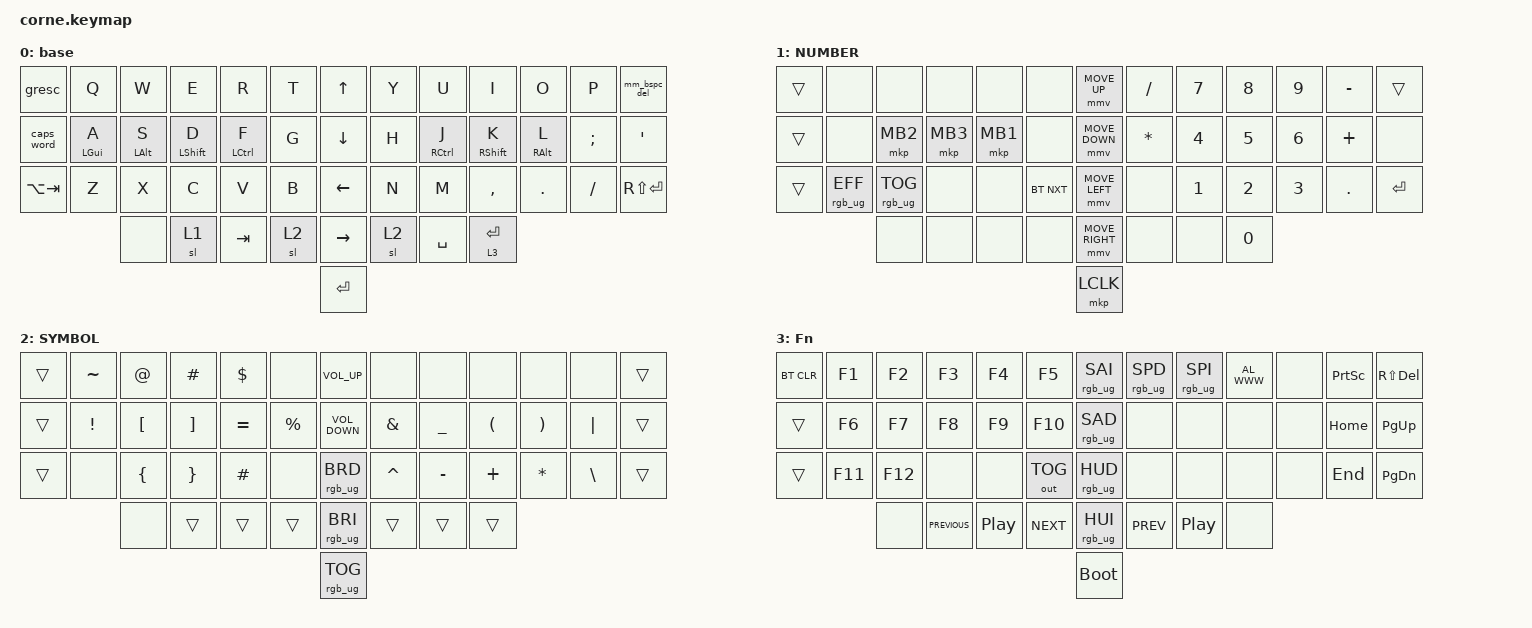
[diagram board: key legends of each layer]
#include <behaviors/mouse_keys.dtsi>
#include <dt-bindings/zmk/mouse.h>
#include <behaviors.dtsi>
#include <dt-bindings/zmk/bt.h>
#include <dt-bindings/zmk/keys.h>
#include <dt-bindings/zmk/outputs.h>
#include <dt-bindings/zmk/rgb.h>

#define ZMK_MOUSE_DEFAULT_MOVE_VAL 1200  // 600
#define ZMK_MOUSE_DEFAULT_SCRL_VAL 20    // 10
#define U_MS_U &mmv MOVE_UP
#define U_MS_D &mmv MOVE_DOWN
#define U_MS_L &mmv MOVE_LEFT
#define U_MS_R &mmv MOVE_RIGHT

&mt {
    flavor = "tap-preferred";
    tapping-term-ms = <300>;
};

/ {
    behaviors {
        mm_bspc_del: mm_bspc_del {
            compatible = "zmk,behavior-mod-morph";
            label = "MM_BSPC_DEL";
            bindings = <&kp BACKSPACE>, <&kp DELETE>;

            #binding-cells = <0>;
            mods = <(MOD_LSFT|MOD_RSFT)>;
        };

        num_word: num_word {
            compatible = "zmk,behavior-caps-word";
            label = "NUM_WORD";
            #binding-cells = <0>;
            continue-list = <NUMBER_1 NUMBER_2 NUMBER_3 NUMBER_4 NUMBER_5 NUMBER_6 NUMBER_7 NUMBER_8 NUMBER_9 NUMBER_0>;
        };

        mmv {
            acceleration-exponent = <1>;      // 1
            time-to-max-speed-ms = <900>;    // 40
            delay-ms = <0>;                   // 0
        };

        msc {
            acceleration-exponent = <1>;      // 0
            time-to-max-speed-ms = <400>;      // 500
            delay-ms = <0>;                   // 10
        };
    };

    combos {
        compatible = "zmk,combos";

        soft_off {
            bindings = <&soft_off>;
            key-positions = <26 0 13>;
            layers = <0>;
        };
    };

    keymap {
        compatible = "zmk,keymap";

        default_layer {
            display-name = "base";

            // --------------------------------------------------------------------------------
            // |  TAB |  Q  |  W  |  E  |  R  |  T  |                ↑    |  Y  |  U   |  I  |  O  |  P  | BKSP |      &kp UP_ARROW 
            // | SHIFT |  A  |  S  |  D  |  F  |  G  |               ↓    |  H  |  J   |  K  |  L  |  ;  |  '   | 
            // | CTRL |  Z  |  X  |  C  |  V  |  B  |                ←    |  N  |  M   |  ,  |  .  |  /  | ESC  |
            //                    | GUI | LWR | SPC |                →    | ENT | RSE  | ALT |
            //                                                      enter

            bindings = <
&gresc       &kp Q           &kp W           &kp E             &kp R        &kp T    &kp UP_ARROW     &kp Y  &kp U        &kp I         &kp O            &kp P          &mm_bspc_del
&caps_word   &mt LEFT_GUI A  &mt LEFT_ALT S  &mt LEFT_SHIFT D  &mt LCTRL F  &kp G    &kp DOWN_ARROW   &kp H  &mt RCTRL J  &mt RSHIFT K  &mt RIGHT_ALT L  &kp SEMICOLON  &kp SQT
&kp LA(TAB)  &kp Z           &kp X           &kp C             &kp V        &kp B    &kp LEFT_ARROW   &kp N  &kp M        &kp COMMA     &kp DOT          &kp FSLH       &kp RS(RET)
                             &none           &sl 1             &kp TAB      &sl 2    &kp RIGHT_ARROW  &sl 2  &kp SPACE    &lt 3 RET
                                                                                     &kp ENTER
            >;

            label = "QWERTY";
        };

        lower_layer {
            display-name = "NUMBER";

            // -----------------------------------------------------------------------------------------
            // |  TAB |  1  |  2  |  3  |  4  |  5  |   |  6  |  7  |  8  |  9  |  0  | BKSP |
            // | BTCLR| BT1 | BT2 | BT3 | BT4 | BT5 |   | LFT | DWN |  UP | RGT |     |      |
            // | SHFT |     |     |     |     |     |   |     |     |     |     |     |      |
            //                    | GUI |     | SPC |   | ENT |     | ALT |

            bindings = <
&trans  &none            &none            &none     &none     &none         &mmv MOVE_UP     &kp SLASH     &kp N7  &kp N8  &kp N9  &kp MINUS  &trans
&trans  &none            &mkp MB2         &mkp MB3  &mkp MB1  &none         &mmv MOVE_DOWN   &kp ASTERISK  &kp N4  &kp N5  &kp N6  &kp PLUS   &none
&trans  &rgb_ug RGB_EFF  &rgb_ug RGB_TOG  &none     &none     &bt BT_NXT    &mmv MOVE_LEFT   &none         &kp N1  &kp N2  &kp N3  &kp DOT    &kp RET
                         &none            &none     &none     &none         &mmv MOVE_RIGHT  &none         &none   &kp N0
                                                                            &mkp LCLK
            >;

            label = "NUMBER";
        };

        raise_layer {
            display-name = "SYMBOL";

            // -----------------------------------------------------------------------------------------
            // |  TAB |  !  |  @  |  #  |  $  |  %  |   |  ^  |  &  |  *  |  (  |  )  | BKSP |
            // | CTRL |     |     |     |     |     |   |  -  |  =  |  [  |  ]  |  \  |  `   |
            // | SHFT |     |     |     |     |     |   |  _  |  +  |  {  |  }  | "|" |  ~   |
            //                    | GUI |     | SPC |   | ENT |     | ALT |

            bindings = <
&trans  &kp TILDE        &kp AT          &kp HASH         &kp DLLR   &none          &kp C_VOLUME_UP    &none          &none           &none                 &none                  &none          &trans
&trans  &kp EXCLAMATION  &kp LBKT        &kp RBKT         &kp EQUAL  &kp PERCENT    &kp C_VOLUME_DOWN  &kp AMPERSAND  &kp UNDERSCORE  &kp LEFT_PARENTHESIS  &kp RIGHT_PARENTHESIS  &kp PIPE       &trans
&trans  &none            &kp LEFT_BRACE  &kp RIGHT_BRACE  &kp HASH   &none          &rgb_ug RGB_BRD    &kp CARET      &kp MINUS       &kp PLUS              &kp ASTERISK           &kp BACKSLASH  &trans
                         &none           &trans           &trans     &trans         &rgb_ug RGB_BRI    &trans         &trans          &trans
                                                                                    &rgb_ug RGB_TOG
            >;

            label = "SYMBOL";
        };

        layer_3 {
            display-name = "Fn";
            bindings = <
&bt BT_CLR  &kp F1   &kp F2   &kp F3          &kp F4    &kp F5          &rgb_ug RGB_SAI  &rgb_ug RGB_SPD  &rgb_ug RGB_SPI   &kp C_AL_WWW  &none  &kp PRINTSCREEN  &kp RS(DEL)
&trans      &kp F6   &kp F7   &kp F8          &kp F9    &kp F10         &rgb_ug RGB_SAD  &none            &none             &none         &none  &kp HOME         &kp PAGE_UP
&trans      &kp F11  &kp F12  &none           &none     &out OUT_TOG    &rgb_ug RGB_HUD  &none            &none             &none         &none  &kp END          &kp PAGE_DOWN
                     &none    &kp C_PREVIOUS  &kp C_PP  &kp C_NEXT      &rgb_ug RGB_HUI  &kp C_PREV       &kp C_PLAY_PAUSE  &none
                                                                        &bootloader
            >;

            label = "FN";
        };
    };

    conditional_layers { compatible = "zmk,conditional-layers"; };
};
